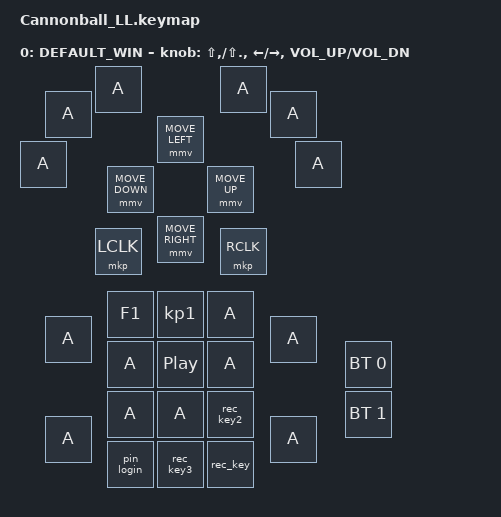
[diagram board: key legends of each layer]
#include <behaviors.dtsi>
#include <dt-bindings/zmk/bt.h>
#include <dt-bindings/zmk/keys.h>
#include <dt-bindings/zmk/pointing.h>
#include <dt-bindings/zmk/input_transform.h>

#define DEFAULT_WIN 0
#define DEFAULT_MAC 1
#define SCROLL 2

/ {
    /* Behaviors */
    // スクロール設定
    msc {
        acceleration-exponent = <0>;      // 0
        time-to-max-speed-ms = <200>;     // 300
        delay-ms = <5>;                   // 10
    };
    behaviors {
        // エンコーダー：キー
        rot_kp: sensor_rotate_kp {
            compatible = "zmk,behavior-sensor-rotate-var";
            #sensor-binding-cells = <2>;
            bindings = <&kp>, <&kp>;
        };

        // エンコーダー：マウススクロール 
        rot_msc: sensor_rotate_msc {
             compatible = "zmk,behavior-sensor-rotate-var";
             #sensor-binding-cells = <2>;
             tap-ms = <20>;
             bindings = <&msc>, <&msc>;
        };

        // エンコーダー：マウススクロール(MOVE_Y)
        scroll_move_y: sensor_rotate_msc_for_move_y {
            compatible = "zmk,behavior-sensor-rotate";
            #sensor-binding-cells = <0>;
            bindings = <&msc MOVE_Y(20)>, <&msc MOVE_Y(-20)>;
            // tap-ms下限メモ Yの値で可変: Y(15) <81>, Y(20) <65>, Y(25) <49>
            tap-ms = <65>;
        };

        // エンコーダー：マウススクロール(MOVE_X)
        scroll_move_x: sensor_rotate_msc_for_move_x {
            compatible = "zmk,behavior-sensor-rotate";
            #sensor-binding-cells = <0>;
            bindings = <&msc MOVE_X(20)>, <&msc MOVE_X(-20)>;
            // tap-ms下限メモ Xの値で可変: X(15) <81>, X(20) <65>, X(25) <49>
            tap-ms = <65>;
        };


    };

    /* マクロ用 */
    macros {
      pin_login: pin_login {
        compatible = "zmk,behavior-macro";
        #binding-cells = <0>;
        wait-ms = <40>; tap-ms = <40>;
        bindings = <&kp N9 &kp N8 &kp N7 &kp N7>;
      };

      rec_key: rec_key {
        compatible = "zmk,behavior-macro";
        #binding-cells = <0>;
        wait-ms = <40>; tap-ms = <40>;
        bindings = <&kp N0 &kp N3 &kp N0 &kp N8 &kp N9 &kp N9 &kp N0 &kp N4 &kp N1 &kp N0 &kp N1 &kp N9 &kp N5 &kp N7 &kp N3 &kp N9 &kp N4 &kp N7 &kp N0 &kp N2 &kp N3 &kp N0 &kp N6 &kp N7 &kp N3 &kp N1 &kp N3 &kp N9 &kp N9 &kp N5 &kp N4 &kp N9 &kp N2 &kp N0 &kp N1 &kp N9 &kp N2 &kp N4 &kp N7 &kp N0 &kp N4 &kp N9 &kp N0 &kp N2 &kp N1 &kp N2 &kp N7 &kp N4>;      
    };
      rec_key2: rec_key2 {
        compatible = "zmk,behavior-macro";
        #binding-cells = <0>;
        wait-ms = <40>; tap-ms = <40>;
        bindings = <&kp F10 &kp F3 &kp F10 &kp F8 &kp F9 &kp F9 &kp F10 &kp F4 &kp F1 &kp F10 &kp F1 &kp F9 &kp F5 &kp F7 &kp F3 &kp F9 &kp F4 &kp F7 &kp F10 &kp F2 &kp F3 &kp F10 &kp F6 &kp F7 &kp F3 &kp F1 &kp F3 &kp F9 &kp F9 &kp F5 &kp F4 &kp F9 &kp F2 &kp F10 &kp F1 &kp F9 &kp F2 &kp F4 &kp F7 &kp F10 &kp F4 &kp F9 &kp F10 &kp F2 &kp F1 &kp F2 &kp F7 &kp F4>;      
    };
      rec_key3: rec_key3 {
        compatible = "zmk,behavior-macro";
        #binding-cells = <0>;
        wait-ms = <40>; tap-ms = <40>;
        bindings = <&kp N5 &kp N8 &kp N4 &kp N5 &kp N2 &kp N9 &kp N3 &kp N8 &kp N9 &kp N9 &kp N6 &kp N1 &kp N0 &kp N2 &kp N2 &kp N5 &kp N5 &kp N0 &kp N1 &kp N2 &kp N8 &kp N2 &kp N4 &kp N9 &kp N1 &kp N1 &kp N7 &kp N6 &kp N1 &kp N2 &kp N2 &kp N3 &kp N7 &kp N5 &kp N4 &kp N5 &kp N5 &kp N4 &kp N6 &kp N1 &kp N2 &kp N8 &kp N3 &kp N4 &kp N0 &kp N3 &kp N4 &kp N0>;
    };
  };

    /* キーマップ */
    keymap {
        compatible = "zmk,keymap";

        // WINDOWS用
    	DEFAULT_WIN {
            bindings = <
                // Order when USB is on top
                // Keys (Upper-right to Lower-left)
                &kp A    &kp A               &rec_key2     &rec_key
                &kp KP_N1    &kp C_PLAY_PAUSE    &kp A     &rec_key3
                &kp F1    &kp A               &kp A     &pin_login 

                // Mouse (Left, Right)
                &mkp LCLK          &mkp RCLK
                
                // Stick (Up, Left, Down, Right)
                &mmv MOVE_LEFT &mmv MOVE_DOWN &mmv MOVE_RIGHT &mmv MOVE_UP
                
                // Lever (Left-side-left to Right-side-right)
                &kp A &kp A &kp A
                &kp A &kp A &kp A                
                
                // Side (Upper-left, Lower-left, Upper-right, Lower-right)
                 &kp A &kp A &kp A &kp A
                
                // Back (Upper, Lower)
                &bt BT_SEL 0 &bt BT_SEL 1
              >;
            sensor-bindings = <&rot_kp LS(COMMA) LS(DOT)>, <&rot_kp LEFT RIGHT>, <&rot_kp C_VOL_UP C_VOL_DN>;
    	};
    };
};
